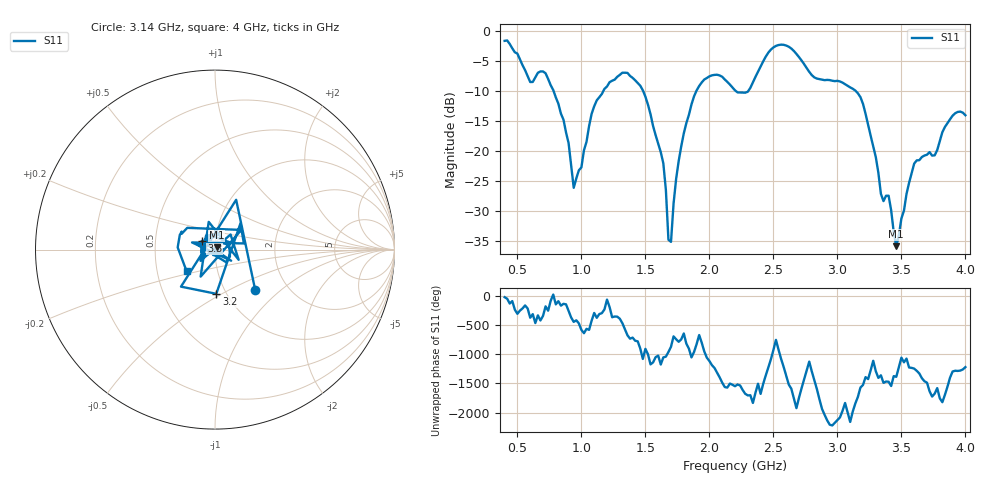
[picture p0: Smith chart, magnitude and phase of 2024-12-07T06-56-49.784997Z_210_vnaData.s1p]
!Created with skrf (http://scikit-rf.org).
# Hz S RI R 50.0
!freq ReS11 ImS11
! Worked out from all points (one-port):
!   181 points, 400 MHz to 4 GHz, reference 50 ohm
!   lowest |S11| = -35.8 dB at 3.46 GHz (marker M1), VSWR 1.03, Z = 51 + j1.28 ohm
!   |S11| at or under -10 dB: 782 MHz to 1.172 GHz (390.3 MHz wide, 39.9 % of centre); 1.482 GHz to 1.899 GHz (417.3 MHz wide, 24.7 % of centre); 3.142 GHz to end of sweep (the widest 3 of 4)
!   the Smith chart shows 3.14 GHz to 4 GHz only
!   S11 on the Smith chart (normalised r, x): 3.14 GHz: 1.38, -0.69; 3.2 GHz: 0.90, -0.47; 3.3 GHz: 0.86, +0.08; 4 GHz: 0.71, -0.18
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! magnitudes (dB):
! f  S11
! 400 MHz  -1.7
! 600 MHz  -8.5
! 720 MHz  -7.1
! 860 MHz  -14.8
! 940 MHz  -26.1
! 1.1 GHz  -12.6
! 1.3 GHz  -7.4
! 1.52 GHz  -12.3
! 1.64 GHz  -22.0
! 1.68 GHz  -34.7
! 1.7 GHz  -35.1
! 1.76 GHz  -21.7
! 1.94 GHz  -8.6
! 2.2 GHz  -9.9
! 2.3 GHz  -10.2
! 2.5 GHz  -2.8
! 2.66 GHz  -3.4
! 2.82 GHz  -7.8
! 3.1 GHz  -9.4
! 3.14 GHz  -10.0
! 3.2 GHz  -12.2
! 3.3 GHz  -21.0
! 3.34 GHz  -27.1
! 3.4 GHz  -27.4
! 3.46 GHz  -35.8
! 3.56 GHz  -25.3
! 3.9 GHz  -14.1
! 4 GHz  -14.1
